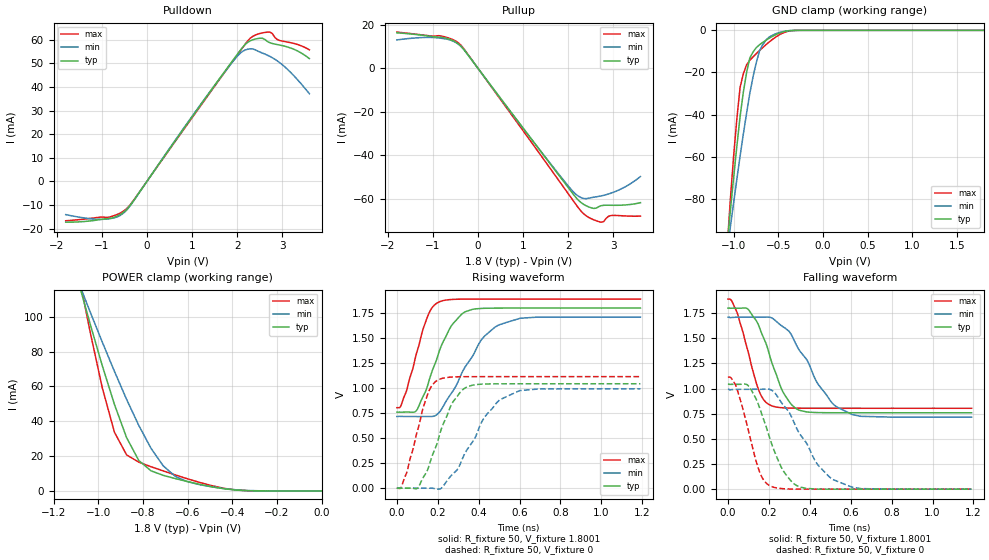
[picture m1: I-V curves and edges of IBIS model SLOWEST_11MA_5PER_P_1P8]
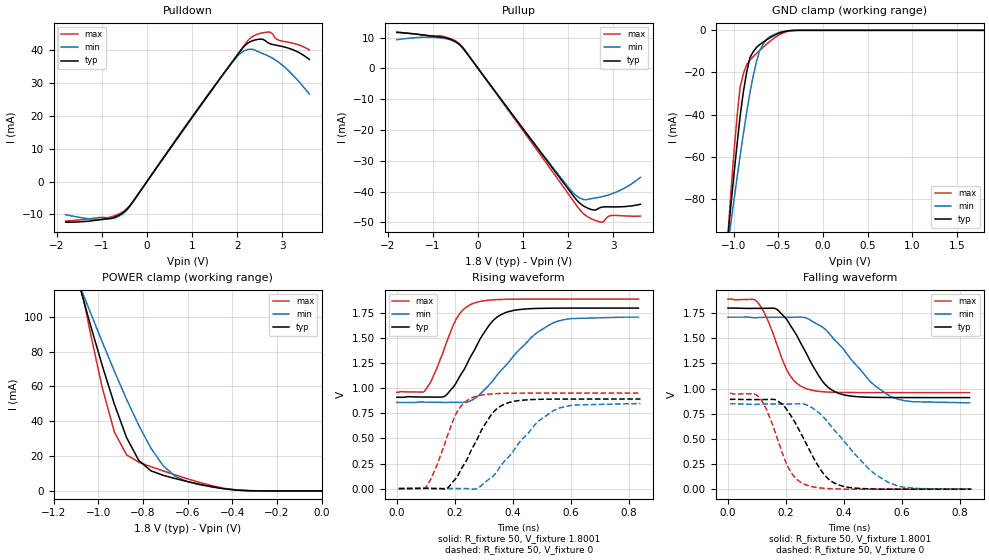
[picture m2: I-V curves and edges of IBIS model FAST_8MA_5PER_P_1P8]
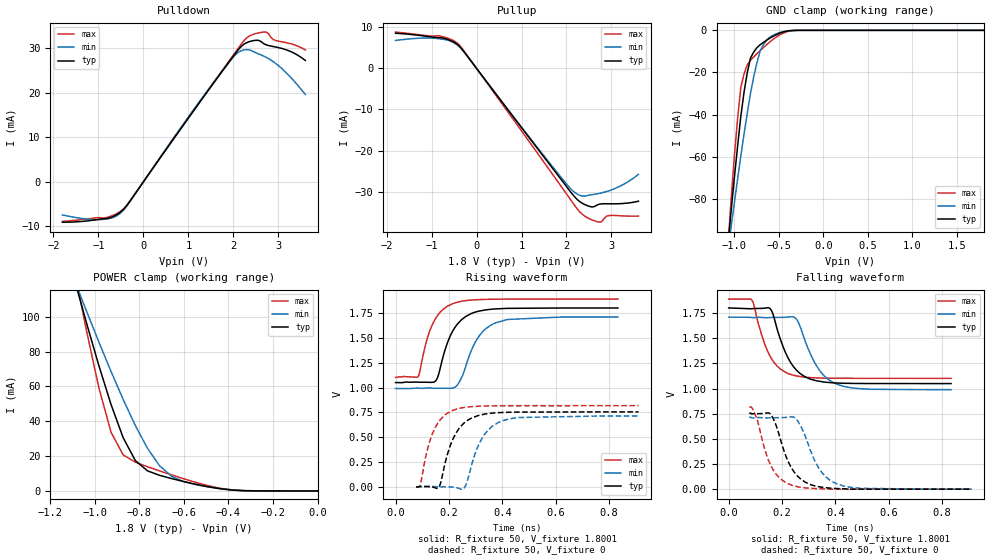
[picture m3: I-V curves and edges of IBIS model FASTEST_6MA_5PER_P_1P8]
|   IBIS Cell BSHTLTCSCDDVGPBFZ
[IBIS ver]   4.1
[File name]   bshtltcscddvgpbfz.ibs
[File Rev]   1.4
[Notes]
V1.4 :
Upated the model with Gen ibis keywords
There is no change to the characterstic data of the model (with ref to V1.3)
V1.3 :
   1. IBIS generation
   2. Removed the 4MA drive strength modes.
   3. Ondie termination and drive strengths are modelled as part
   of model selector.
   4. IBIS model generation for 1.35V nom PTV.
[Date]   Jan 5, 2011
[Source]   HSpice simulation results
   Spice model :
   /proj/gateway/mani/hspice_models/2009.09.22/lay
[Disclaimer] Please be aware that in the absence of a written agreement,
               Texas Instruments (TI) assumes no liability for: 1) the
               accuracy of the IBIS models provided to your company, 2) the
               proper functioning of these IBIS models in your design or for
               any resulting applications, or; 3) infringement of patents,
               copyrights, or intellectual property rights resulting from
               your use of these IBIS models. TI provides IBIS models as a
               service to our customers and therefore reserves the right to
               limit distribution of the IBIS models.
[Copyright]   Property of Texas Instruments Incorporated. Unauthorized
   reproduction and/or distribution is strictly prohibited. This
   product is protected under copyright law and trade secret law
   as an unpublished work. Copyright (C) 2010, Texas Instruments
   Incorporated, all rights reserved. These commodities are under
   the U.S. Government distribution license control. As such,
   they are not to be re-exported without the prior approval of
   the U.S. Department of Commerce.
|   Component BSHTLTCSCDDVGPBFZ
[Component]   BSHTLTCSCDDVGPBFZ
[Manufacturer]   Texas Instruments
[Package]
|  variable   typ   min   max
R_pkg   0   0   0
L_pkg   0   0   0
C_pkg   0   0   0
[Pin]   signal_name   model_name   R_pin   L_pin   C_pin
TX_P   PADP   DRIVER_PADP
TX_N   PADN   DRIVER_PADN
PADP   PADP   DIFF_RECEIVER
PADN   PADN   DIFF_RECEIVER
VDDS   VDDS   POWER
VSS   VSS   GND
[Diff Pin]   inv_pin   vdiff   tdelay_typ
PADP   PADN   200m   NA
[Model Selector] DRIVER_PADP
SLOWEST_11MA_5PER_P_1P8  Cell operated at 1.8(nom) with +/-5% variation
|SLOWEST_11MA_5PER_P_1P8; BUFFER(PADP) OPERATING WITH 11MA DRIVE STRENGTH SE
|TTING IN SLOWEST MODE
FAST_8MA_5PER_P_1P8  Cell operated at 1.8(nom) with +/-5% variation
|FAST_8MA_5PER_P_1P8; BUFFER(PADP) OPERATING WITH 8MA DRIVE STRENGTH SETTING
| IN FAST MODE
FASTEST_6MA_5PER_P_1P8  Cell operated at 1.8(nom) with +/-5% variation
|FASTEST_6MA_5PER_P_1P8; BUFFER(PADP) OPERATING WITH 6MA DRIVE STRENGTH SETT
|ING IN FASTEST MODE
SLOW_8MA_5PER_P_1P8  Cell operated at 1.8(nom) with +/-5% variation
|SLOW_8MA_5PER_P_1P8; BUFFER(PADP) OPERATING WITH 8MA DRIVE STRENGTH SETTING
| IN SLOW MODE
[Model Selector] DRIVER_PADN
[Model Selector] DIFF_RECEIVER
DIFF_HALFTERM_TH_1P8_9MA_5PER_1P8  Cell operated at 1.8(nom)
|DIFF_HALFTERM_TH_1P8_9MA_5PER_1P8; BUFFER OPERATING AT 1.8V NOM VDDS WIT
|H 5 PERCENT VARIATION IN RECEIVER MODE WITH 9MA,WITH HALF THEVENIN TERMINAT
|ION(TERMINATION_ON)
DIFF_HALFTERM_TH_1P8_5MA_5PER_1P8  Cell operated at 1.8(nom)
|DIFF_HALFTERM_TH_1P8_5MA_5PER_1P8; BUFFER OPERATING AT 1.8V NOM VDDS WIT
|H 5 PERCENT VARIATION IN RECEIVER MODE WITH 5MA,WITH HALF THEVENIN TERMINAT
|ION(TERMINATION_ON)
DIFF_FULLTERM_TH_1P8_11MA_5PER_1P8  Cell operated at 1.8(nom)
|DIFF_FULLTERM_TH_1P8_11MA_5PER_1P8; BUFFER OPERATING AT 1.8V NOM VDDS WI
|TH 5 PERCENT VARIATION IN RECEIVER MODE WITH 11MA,WITH FULL THEVENIN TERMIN
|ATION(TERMINATION_ON)
DIFF_FULLTERM_TH_1P8_7MA_5PER_1P8  Cell operated at 1.8(nom)
| Models and submodels in the file (8): SLOWEST_11MA_5PER_P_1P8 (3-state), FAST_8MA_5PER_P_1P8 (3-state), FASTEST_6MA_5PER_P_1P8 (3-state), SLOW_8MA_5PER_P_1P8 (3-state), DIFF_HALFTERM_TH_1P8_9MA_5PER_1P8 (Input), DIFF_HALFTERM_TH_1P8_5MA_5PER_1P8 (Input), DIFF_FULLTERM_TH_1P8_11MA_5PER_1P8 (Input), DIFF_FULLTERM_TH_1P8_7MA_5PER_1P8 (Input)
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|DIFF_FULLTERM_TH_1P8_7MA_5PER_1P8; BUFFER OPERATING AT 1.8V NOM VDDS WIT
|H 5 PERCENT VARIATION IN RECEIVER MODE WITH 7MA,WITH FULL THEVENIN TERMINAT
|ION(TERMINATION_ON)
|   Model Cell SLOWEST_11MA_5PER_P_1P8
|SLOWEST_11MA_5PER_P_1P8
[Model]   SLOWEST_11MA_5PER_P_1P8
Model_type   3-state
Polarity   Non-Inverting
Enable   Active-Low
Cref =  15.0000pF
Rref =  100.0000M
Vref =  0V
Vmeas =  0.90005
C_comp   1.5249p   1.4275p   1.6205p
|[Input load] NA
|[Nom VDDS voltage] 1.8V
|[Output drive] slowest
|[supplytol] 5
|[temp] ind
[Model Spec]
[Temperature Range]   25   125   -40
[Voltage Range]   1.8   1.71   1.89
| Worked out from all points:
|   slope of the pulldown table from 0 to 0.27 V, typ, clamps not added: 36.3 ohm
|   slope of the pullup table from 0 to 0.27 V, typ, clamps not added: 36.2 ohm
|   GND clamp passes 1 mA (typ) near -0.47 V on its own axis
|   POWER clamp passes 1 mA (typ) near -0.42 V on its own axis
|   rising waveform, R_fixture 50, V_fixture 1.8001: 20-80 % time 117ps typ, 170ps min, 89.2ps max; typ from 0.76 V to 1.8 V
|   rising waveform, R_fixture 50, V_fixture 0: 20-80 % time 112ps typ, 166ps min, 86.5ps max; typ from 0 V to 1.04 V
|   falling waveform, R_fixture 50, V_fixture 1.8001: 20-80 % time 112ps typ, 173ps min, 87.5ps max; typ from 1.8 V to 0.759 V
|   falling waveform, R_fixture 50, V_fixture 0: 20-80 % time 113ps typ, 171ps min, 86.4ps max; typ from 1.04 V to 0 V
| Nom Voltages:
|   BUS_BIAS2=0, VDD=1, VDDS=1.8001, BIASFET=1.8, BUS_BIAS1=0, BUS_BIAS3=0,
|   VSS=0, VSSS=0
| Min Voltages:
|   BUS_BIAS2=0, VDD=0.9, VDDS=1.71, BIASFET=1.71, BUS_BIAS1=0, BUS_BIAS3=0,
|   VSS=0, VSSS=0
| Max Voltages:
|   BUS_BIAS2=0, VDD=1.1, VDDS=1.89, BIASFET=1.89, BUS_BIAS1=0, BUS_BIAS3=0,
|   VSS=0, VSSS=0
[POWER_clamp]
|   voltage   I(typ)   I(min)   I(max)
-1.8V     474mA      366.5mA    636mA
-1.073V   112.8mA    114.8mA    115mA
-1.055V   104.4mA    108.9mA    103.2mA
-981.9mV  72.02mA    85.56mA    59.34mA
-927.3mV  49.71mA    68.7mA     33.74mA
-872.8mV  30.58mA    52.57mA    20.7mA
-818.2mV  17.49mA    37.63mA    16.52mA
-763.7mV  11.55mA    24.52mA    13.91mA
-709.1mV  8.963mA    14.45mA    11.5mA
-654.6mV  7.076mA    8.323mA    9.177mA
-381.8mV  457.3uA    634.3uA    491.7uA
0V        1.951nA    28.29nA    672.4pA
[Pulldown]
|   voltage   I(typ)   I(min)   I(max)
-1.8V     -17.28mA   -14.06mA   -16.68mA
-981.9mV  -16.02mA   -16.06mA   -15.11mA
-709.1mV  -15.1mA    -15.36mA   -14.38mA
-490.9mV  -12.65mA   -12.96mA   -12.21mA
1.473V    39.91mA    39.92mA    39.53mA
1.964V    52.78mA    52.12mA    52.52mA
2.182V    58.04mA    55.65mA    58.21mA
2.509V    60.61mA    54.72mA    62.64mA
2.727V    58.67mA    52.89mA    63.21mA
2.891V    57.92mA    50.99mA    60.05mA
3.273V    55.8mA     44.4mA     58.32mA
3.6V      51.98mA    37.13mA    55.69mA
[Pullup]
|   voltage   I(typ)   I(min)   I(max)
-1.8V     16.31mA    13.09mA    16.68mA
-872.8mV  14.3mA     13.97mA    15.04mA
-600mV    13.11mA    12.92mA    13.58mA
-381.8mV  10.27mA    10.16mA    10.73mA
1.691V    -46.4mA    -46.05mA   -48.65mA
2.073V    -56.81mA   -55.9mA    -59.76mA
2.236V    -60.85mA   -58.9mA    -64.46mA
2.4V      -63.21mA   -59.9mA    -67.83mA
2.564V    -64.39mA   -59.24mA   -69.62mA
2.727V    -63.13mA   -58.65mA   -70.72mA
2.946V    -62.94mA   -57.38mA   -67.67mA
3.6V      -61.74mA   -49.73mA   -67.93mA
[GND_clamp]
|   voltage   I(typ)   I(min)   I(max)
-1.8V     -462.4mA   -356.3mA   -622.3mA
-1.073V   -102.2mA   -105.2mA   -103.4mA
-1.036V   -85.75mA   -93.44mA   -80.45mA
-1V       -70.08mA   -81.98mA   -59.92mA
-927.3mV  -40.88mA   -59.68mA   -27.04mA
-891mV    -29.31mA   -49.26mA   -20.65mA
-818.2mV  -13.08mA   -29.85mA   -14.19mA
-745.5mV  -8.188mA   -15.22mA   -11.06mA
-709.1mV  -6.803mA   -9.688mA   -9.574mA
-600mV    -3.696mA   -3.146mA   -5.458mA
-309.1mV  -26.69uA   -37.55uA   -46.75uA
1.8V      1.951nA    405.7nA    457.6pA
[Ramp]
| variable   typ   min   max
dV/dt_f   0.83324/0.17119245n   0.796136/0.26297297n   0.86896/0.12774941n
dV/dt_r 0.83928032/0.17565821n 0.80221512/0.2582144n 0.89472816/0.12623762n
R_load = 50
[Rising Waveform]
R_fixture = 50
V_fixture = 1.8001
V_fixture_min = 1.71
V_fixture_max = 1.89
|   time   V(typ)   V(min)   V(max)
340fs     760mV      716.5mV    804.8mV
45.4ps    761mV      716.6mV    960.8mV
97.19ps   779.5mV    716.2mV    1.354V
158.7ps   1.083V     716.7mV    1.755V
206.3ps   1.362V     756.1mV    1.861V
267ps     1.624V     949.8mV    1.886V
325.3ps   1.752V     1.182V     1.889V
417.6ps   1.797V     1.494V     1.89V
496.6ps   1.8V       1.63V      1.89V
1.191ns   1.8V       1.71V      1.89V
[Rising Waveform]
R_fixture = 50
V_fixture = 0
V_fixture_min = 0
V_fixture_max = 0
|   time   V(typ)   V(min)   V(max)
0s        0V         0V         0V
46.87ps   0V         0V         148.2mV
101.5ps   0V         0V         580.6mV
156.3ps   216.7mV    0V         966.7mV
204.4ps   500.4mV    -9.387mV   1.085V
266ps     832.2mV    126.5mV    1.11V
322.9ps   985.9mV    305.5mV    1.114V
502.6ps   1.043V     883.1mV    1.115V
696.1ps   1.044V     992mV      1.115V
1.19ns    1.044V     993.4mV    1.115V
[Falling Waveform]
R_fixture = 50
V_fixture = 1.8001
V_fixture_min = 1.71
V_fixture_max = 1.89
|   time   V(typ)   V(min)   V(max)
340fs     1.8V       1.709V     1.889V
44.72ps   1.798V     1.709V     1.755V
102.9ps   1.777V     1.709V     1.333V
158.3ps   1.584V     1.709V     946.9mV
208.5ps   1.297V     1.707V     833.2mV
266.5ps   976.7mV    1.618V     808.9mV
329.2ps   806.5mV    1.455V     804.9mV
533.2ps   759.4mV    816.2mV    804mV
647.8ps   759.2mV    723.9mV    803.9mV
1.191ns   759.1mV    715.5mV    803.9mV
[Falling Waveform]
R_fixture = 50
V_fixture = 0
V_fixture_min = 0
V_fixture_max = 0
|   time   V(typ)   V(min)   V(max)
0s        1.043V     992.8mV    1.114V
40.84ps   1.042V     991.8mV    1.018V
102.6ps   1.021V     992.3mV    562.1mV
158.4ps   788.2mV    992.3mV    154.1mV
211.6ps   462.9mV    985.7mV    27.39mV
321.8ps   55.47mV    669.2mV    0V
435.9ps   2.015mV    251.5mV    0V
510.6ps   0V         97.85mV    0V
649.3ps   0V         5.829mV    0V
1.19ns    0V         0V         0V
|   Model Cell FAST_8MA_5PER_P_1P8
|FAST_8MA_5PER_P_1P8
[Model]   FAST_8MA_5PER_P_1P8
Model_type   3-state
Polarity   Non-Inverting
Enable   Active-Low
Cref =  15.0000pF
Rref =  100.0000M
Vref =  0V
Vmeas =  0.90005
C_comp   1.5249p   1.4275p   1.6205p
|[Input load] NA
|[Nom VDDS voltage] 1.8V
|[Output drive] fast
|[supplytol] 5
|[temp] ind
[Model Spec]
[Temperature Range]   25   125   -40
[Voltage Range]   1.8   1.71   1.89
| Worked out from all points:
|   slope of the pulldown table from 0 to 0.27 V, typ, clamps not added: 50.8 ohm
|   slope of the pullup table from 0 to 0.27 V, typ, clamps not added: 50.7 ohm
|   GND clamp passes 1 mA (typ) near -0.47 V on its own axis
|   POWER clamp passes 1 mA (typ) near -0.42 V on its own axis
|   rising waveform, R_fixture 50, V_fixture 1.8001: 20-80 % time 106ps typ, 160ps min, 77.9ps max; typ from 0.911 V to 1.8 V
|   rising waveform, R_fixture 50, V_fixture 0: 20-80 % time 101ps typ, 146ps min, 75.6ps max; typ from 0 V to 0.893 V
|   falling waveform, R_fixture 50, V_fixture 1.8001: 20-80 % time 106ps typ, 155ps min, 77.3ps max; typ from 1.8 V to 0.91 V
|   falling waveform, R_fixture 50, V_fixture 0: 20-80 % time 103ps typ, 157ps min, 75.8ps max; typ from 0.893 V to 0 V
| Nom Voltages:
|   BUS_BIAS2=0, VDD=1, VDDS=1.8001, BIASFET=1.8, BUS_BIAS1=0, BUS_BIAS3=0,
|   VSS=0, VSSS=0
| Min Voltages:
|   BUS_BIAS2=0, VDD=0.9, VDDS=1.71, BIASFET=1.71, BUS_BIAS1=0, BUS_BIAS3=0,
|   VSS=0, VSSS=0
| Max Voltages:
|   BUS_BIAS2=0, VDD=1.1, VDDS=1.89, BIASFET=1.89, BUS_BIAS1=0, BUS_BIAS3=0,
|   VSS=0, VSSS=0
[POWER_clamp]
|   voltage   I(typ)   I(min)   I(max)
-1.8V     474mA      366.5mA    636mA
-1.073V   112.8mA    114.8mA    115mA
-1.055V   104.4mA    108.9mA    103.2mA
-981.9mV  72.02mA    85.56mA    59.34mA
-927.3mV  49.71mA    68.7mA     33.74mA
-872.8mV  30.58mA    52.57mA    20.7mA
-818.2mV  17.49mA    37.63mA    16.52mA
-763.7mV  11.55mA    24.52mA    13.91mA
-709.1mV  8.963mA    14.45mA    11.5mA
-654.6mV  7.076mA    8.323mA    9.177mA
-381.8mV  457.3uA    634.3uA    491.7uA
0V        1.951nA    28.29nA    672.4pA
[Pulldown]
|   voltage   I(typ)   I(min)   I(max)
-1.8V     -12.34mA   -10.08mA   -11.99mA
-981.9mV  -11.44mA   -11.52mA   -10.86mA
-709.1mV  -10.79mA   -11.02mA   -10.34mA
-490.9mV  -9.038mA   -9.294mA   -8.776mA
1.364V    26.46mA    26.62mA    26.34mA
2.127V    40.67mA    39.54mA    40.86mA
2.291V    42.52mA    40.24mA    43.59mA
2.455V    43.2mA     39.56mA    44.81mA
2.727V    41.9mA     37.91mA    45.43mA
2.891V    41.37mA    36.55mA    43.16mA
3.273V    39.85mA    31.82mA    41.91mA
3.6V      37.11mA    26.6mA     40.01mA
[Pullup]
|   voltage   I(typ)   I(min)   I(max)
-1.8V     11.65mA    9.31mA     11.77mA
-872.8mV  10.21mA    9.945mA    10.62mA
-600mV    9.363mA    9.196mA    9.585mA
-381.8mV  7.343mA    7.237mA    7.579mA
1.691V    -33.17mA   -32.79mA   -34.37mA
2.073V    -40.61mA   -39.8mA    -42.22mA
2.236V    -43.49mA   -41.92mA   -45.54mA
2.4V      -45.16mA   -42.63mA   -47.9mA
2.564V    -46mA      -42.15mA   -49.15mA
2.727V    -45.09mA   -41.72mA   -49.92mA
2.946V    -44.96mA   -40.82mA   -47.76mA
3.6V      -44.09mA   -35.36mA   -47.95mA
[GND_clamp]
|   voltage   I(typ)   I(min)   I(max)
-1.8V     -462.4mA   -356.3mA   -622.3mA
-1.073V   -102.2mA   -105.2mA   -103.4mA
-1.036V   -85.75mA   -93.44mA   -80.45mA
-1V       -70.08mA   -81.98mA   -59.92mA
-927.3mV  -40.88mA   -59.68mA   -27.04mA
-891mV    -29.31mA   -49.26mA   -20.65mA
-818.2mV  -13.08mA   -29.85mA   -14.19mA
-745.5mV  -8.188mA   -15.22mA   -11.06mA
-709.1mV  -6.803mA   -9.688mA   -9.574mA
-600mV    -3.696mA   -3.146mA   -5.458mA
-309.1mV  -26.69uA   -37.55uA   -46.75uA
1.8V      1.951nA    405.7nA    457.6pA
[Ramp]
| variable   typ   min   max
dV/dt_f   0.712016/0.15583451n   0.681824/0.23046203n   0.744576/0.12022518n
dV/dt_r  0.7177132/0.1492105n   0.6833/0.22094698n 0.76277128/0.11578313n
R_load = 50
[Rising Waveform]
R_fixture = 50
V_fixture = 1.8001
V_fixture_min = 1.71
V_fixture_max = 1.89
|   time   V(typ)   V(min)   V(max)
0s        910.9mV    859.1mV    960.2mV
95.85ps   912.6mV    862mV      972.8mV
170.6ps   932.8mV    859.3mV    1.452V
213ps     1.098V     859.7mV    1.729V
265.7ps   1.371V     892.7mV    1.849V
320.5ps   1.637V     1.041V     1.88V
357.7ps   1.733V     1.173V     1.886V
473.3ps   1.796V     1.532V     1.89V
530.4ps   1.799V     1.64V      1.89V
833.3ps   1.8V       1.71V      1.89V
[Rising Waveform]
R_fixture = 50
V_fixture = 0
V_fixture_min = 0
V_fixture_max = 0
|   time   V(typ)   V(min)   V(max)
6.81ps    0V         0V         0V
100.3ps   2.496mV    3.223mV    14.57mV
172.9ps   0V         0V         514.6mV
213.9ps   148.4mV    0V         793.1mV
261ps     407.5mV    -5.474mV   907.6mV
323.2ps   726.2mV    103.5mV    943.5mV
359.1ps   824.3mV    229.1mV    948.7mV
476.9ps   889mV      639mV      952.1mV
541.5ps   892.2mV    779.1mV    952.3mV
840.1ps   893.3mV    848.2mV    952.4mV
[Falling Waveform]
R_fixture = 50
V_fixture = 1.8001
V_fixture_min = 1.71
V_fixture_max = 1.89
|   time   V(typ)   V(min)   V(max)
0s        1.799V     1.71V      1.889V
101.2ps   1.797V     1.705V     1.86V
173.7ps   1.776V     1.709V     1.4V
218ps     1.616V     1.708V     1.114V
269.9ps   1.353V     1.701V     999mV
324.2ps   1.081V     1.614V     969.2mV
366.1ps   972.1mV    1.489V     962.8mV
491.9ps   913.1mV    1.067V     959.7mV
561.8ps   910.8mV    921.5mV    959.5mV
833.3ps   910.2mV    858.1mV    959.4mV
[Falling Waveform]
R_fixture = 50
V_fixture = 0
V_fixture_min = 0
V_fixture_max = 0
|   time   V(typ)   V(min)   V(max)
6.81ps    892.7mV    847.9mV    951.9mV
110.9ps   890mV      844.9mV    905.6mV
188ps     842.1mV    846.9mV    356mV
221.5ps   710.9mV    846.6mV    151.3mV
264.1ps   485.5mV    844.3mV    48.51mV
320.5ps   190.2mV    740.8mV    11.59mV
360.8ps   70.85mV    608.2mV    4.316mV
483.9ps   3.704mV    208.1mV    0V
554.9ps   0V         65.09mV    0V
840.1ps   0V         0V         0V
|   Model Cell FASTEST_6MA_5PER_P_1P8
|FASTEST_6MA_5PER_P_1P8
[Model]   FASTEST_6MA_5PER_P_1P8
Model_type   3-state
Polarity   Non-Inverting
Enable   Active-Low
Cref =  15.0000pF
Rref =  100.0000M
Vref =  0V
Vmeas =  0.90005
C_comp   1.5249p   1.4275p   1.6205p
|[Input load] NA
|[Nom VDDS voltage] 1.8V
|[Output drive] fastest
|[supplytol] 5
|[temp] ind
[Model Spec]
[Temperature Range]   25   125   -40
[Voltage Range]   1.8   1.71   1.89
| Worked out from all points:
|   slope of the pulldown table from 0 to 0.27 V, typ, clamps not added: 69.2 ohm
|   slope of the pullup table from 0 to 0.27 V, typ, clamps not added: 69 ohm
|   GND clamp passes 1 mA (typ) near -0.47 V on its own axis
|   POWER clamp passes 1 mA (typ) near -0.42 V on its own axis
|   rising waveform, R_fixture 50, V_fixture 1.8001: 20-80 % time 67.7ps typ, 75ps min, 61.3ps max; typ from 1.05 V to 1.8 V
|   rising waveform, R_fixture 50, V_fixture 0: 20-80 % time 65ps typ, 69.3ps min, 58.8ps max; typ from 0 V to 0.755 V
|   falling waveform, R_fixture 50, V_fixture 1.8001: 20-80 % time 72.8ps typ, 81.1ps min, 67ps max; typ from 1.8 V to 1.05 V
|   falling waveform, R_fixture 50, V_fixture 0: 20-80 % time 69.5ps typ, 76.5ps min, 63.3ps max; typ from 0.755 V to 0 V
| Nom Voltages:
|   BUS_BIAS2=0, VDD=1, VDDS=1.8001, BIASFET=1.8, BUS_BIAS1=0, BUS_BIAS3=0,
|   VSS=0, VSSS=0
| Min Voltages:
|   BUS_BIAS2=0, VDD=0.9, VDDS=1.71, BIASFET=1.71, BUS_BIAS1=0, BUS_BIAS3=0,
|   VSS=0, VSSS=0
| Max Voltages:
|   BUS_BIAS2=0, VDD=1.1, VDDS=1.89, BIASFET=1.89, BUS_BIAS1=0, BUS_BIAS3=0,
|   VSS=0, VSSS=0
[POWER_clamp]
|   voltage   I(typ)   I(min)   I(max)
-1.8V     474mA      366.5mA    636mA
-1.073V   112.8mA    114.8mA    115mA
-1.055V   104.4mA    108.9mA    103.2mA
-981.9mV  72.02mA    85.56mA    59.34mA
-927.3mV  49.71mA    68.7mA     33.74mA
-872.8mV  30.58mA    52.57mA    20.7mA
-818.2mV  17.49mA    37.63mA    16.52mA
-763.7mV  11.55mA    24.52mA    13.91mA
-709.1mV  8.963mA    14.45mA    11.5mA
-654.6mV  7.076mA    8.323mA    9.177mA
-381.8mV  457.3uA    634.3uA    491.7uA
0V        1.951nA    28.29nA    672.4pA
[Pulldown]
|   voltage   I(typ)   I(min)   I(max)
-1.8V     -9.05mA    -7.43mA    -8.86mA
-981.9mV  -8.393mA   -8.487mA   -8.028mA
-709.1mV  -7.912mA   -8.12mA    -7.641mA
-490.9mV  -6.63mA    -6.851mA   -6.489mA
1.364V    19.41mA    19.63mA    19.48mA
2.127V    29.84mA    29.14mA    30.21mA
2.291V    31.18mA    29.65mA    32.23mA
2.455V    31.68mA    29.15mA    33.13mA
2.727V    30.73mA    27.93mA    33.58mA
2.891V    30.33mA    26.92mA    31.9mA
3.273V    29.22mA    23.44mA    30.98mA
3.6V      27.21mA    19.59mA    29.57mA
[Pullup]
|   voltage   I(typ)   I(min)   I(max)
-1.8V     8.54mA     6.8mA      8.83mA
-872.8mV  7.492mA    7.257mA    7.963mA
-600mV    6.868mA    6.712mA    7.19mA
-381.8mV  5.387mA    5.283mA    5.686mA
1.691V    -24.34mA   -23.94mA   -25.79mA
2.073V    -29.79mA   -29.06mA   -31.68mA
2.236V    -31.91mA   -30.6mA    -34.17mA
2.4V      -33.12mA   -31.11mA   -35.93mA
2.564V    -33.74mA   -30.76mA   -36.87mA
2.727V    -33.07mA   -30.44mA   -37.45mA
2.946V    -32.97mA   -29.79mA   -35.82mA
3.6V      -32.33mA   -25.8mA    -35.96mA
[GND_clamp]
|   voltage   I(typ)   I(min)   I(max)
-1.8V     -462.4mA   -356.3mA   -622.3mA
-1.073V   -102.2mA   -105.2mA   -103.4mA
-1.036V   -85.75mA   -93.44mA   -80.45mA
-1V       -70.08mA   -81.98mA   -59.92mA
-927.3mV  -40.88mA   -59.68mA   -27.04mA
-891mV    -29.31mA   -49.26mA   -20.65mA
-818.2mV  -13.08mA   -29.85mA   -14.19mA
-745.5mV  -8.188mA   -15.22mA   -11.06mA
-709.1mV  -6.803mA   -9.688mA   -9.574mA
-600mV    -3.696mA   -3.146mA   -5.458mA
-309.1mV  -26.69uA   -37.55uA   -46.75uA
1.8V      1.951nA    405.7nA    457.6pA
[Ramp]
| variable   typ   min   max
dV/dt_f   0.60272/0.11405419n   0.57952/0.12652562n   0.63104/0.10542602n
dV/dt_r  0.6157192/0.10372495n  0.5894312/0.11260833n 0.66076904/93.528533p
R_load = 50
[Rising Waveform]
R_fixture = 50
V_fixture = 1.8001
V_fixture_min = 1.71
V_fixture_max = 1.89
|   time   V(typ)   V(min)   V(max)
0s        1.05V      990mV      1.102V
84.68ps   1.054V     994mV      1.112V
121.2ps   1.053V     995mV      1.515V
150.2ps   1.067V     992.7mV    1.695V
190.7ps   1.422V     992.3mV    1.811V
213.7ps   1.566V     994.5mV    1.843V
245ps     1.676V     1.087V     1.866V
307.5ps   1.765V     1.496V     1.884V
374.3ps   1.791V     1.651V     1.889V
833.3ps   1.8V       1.71V      1.89V
[Rising Waveform]
R_fixture = 50
V_fixture = 0
V_fixture_min = 0
V_fixture_max = 0
|   time   V(typ)   V(min)   V(max)
76.89ps   0V         0V         0V
92.05ps   3.619mV    3.382mV    15.13mV
125ps     2.257mV    5.848mV    430.5mV
161ps     -8.696mV   0V         650.9mV
211.1ps   456.2mV    0V         766.3mV
256.5ps   642.2mV    -12.14mV   798.9mV
297.4ps   705.4mV    329.4mV    809.8mV
321.8ps   725.5mV    479.1mV    812.9mV
393.3ps   748mV      657.7mV    816.3mV
910.2ps   754.8mV    714mV      817.3mV
[Falling Waveform]
R_fixture = 50
V_fixture = 1.8001
V_fixture_min = 1.71
V_fixture_max = 1.89
|   time   V(typ)   V(min)   V(max)
0s        1.8V       1.709V     1.889V
88.08ps   1.794V     1.705V     1.874V
128ps     1.797V     1.706V     1.497V
155.4ps   1.794V     1.705V     1.32V
226.5ps   1.284V     1.711V     1.145V
256.2ps   1.177V     1.681V     1.124V
322.2ps   1.082V     1.258V     1.106V
391.5ps   1.057V     1.06V      1.102V
499.8ps   1.05V      997.1mV    1.101V
833.3ps   1.049V     989.1mV    1.101V
[Falling Waveform]
R_fixture = 50
V_fixture = 0
V_fixture_min = 0
V_fixture_max = 0
|   time   V(typ)   V(min)   V(max)
76.89ps   755.2mV    714.4mV    816.4mV
105.6ps   749.9mV    710.7mV    699.8mV
136.1ps   754.5mV    708.1mV    387.9mV
158.6ps   740.7mV    709.7mV    231.7mV
194.4ps   490.6mV    710.9mV    101.4mV
237.4ps   202.1mV    718.6mV    37.72mV
269.9ps   100.1mV    627.1mV    18.28mV
337.6ps   24.29mV    209mV      4.397mV
407ps     5.979mV    50.76mV    0V
910.2ps   0V         0V         0V
